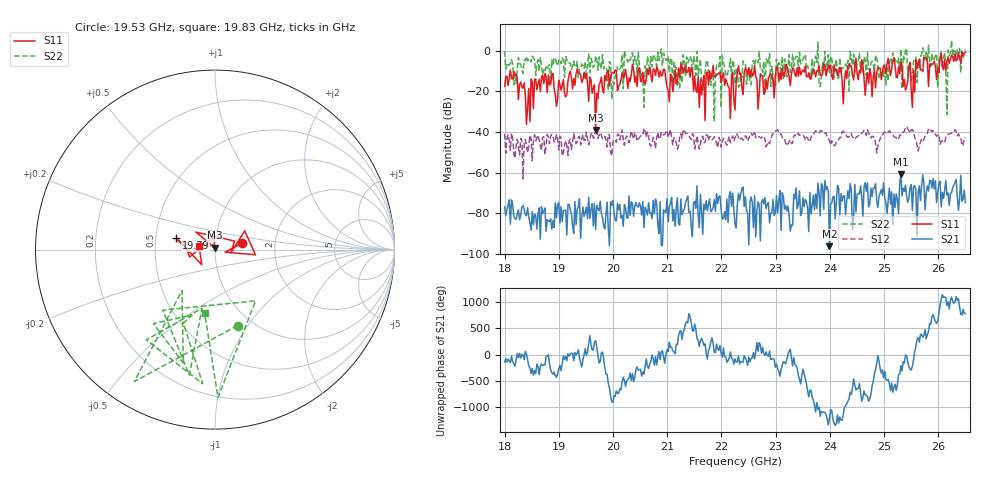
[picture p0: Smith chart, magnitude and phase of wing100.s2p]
!Keysight Technologies,N5242B,MY47200105,A.14.00.23
!Date: Friday, May 10, 2024 11:03:09
!Correction: S11(C  2-Port  )
!S21(C  2-Port  )
!S12(C  2-Port  )
!S22(C  2-Port  )
!S2P File: Measurement: :
# Hz S  RI  R 50
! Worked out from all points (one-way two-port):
!   401 points, 18 GHz to 26.5 GHz, reference 50 ohm
!   highest |S21| = -60.69 dB at 25.31 GHz (marker M1); lowest = -96.3 dB at 23.99 GHz (marker M2)
!   lowest |S11| = -38.9 dB at 19.68 GHz (marker M3), VSWR 1.02, Z = 49.8 + j1.11 ohm
!   |S11| at or under -10 dB: 18.11 GHz to 19.21 GHz (1.101 GHz wide, 5.9 % of centre); 19.35 GHz to 19.9 GHz (550.1 MHz wide, 2.8 % of centre); 21.86 GHz to 22.3 GHz (438.4 MHz wide, 1.99 % of centre) (the widest 3 of 61)
!   |S22| runs from -34.7 to 5.2 dB; largest |S21 - S12| = 0.013
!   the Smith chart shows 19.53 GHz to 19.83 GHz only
!   S11 on the Smith chart (normalised r, x): 19.53 GHz: 1.35, +0.10; 19.79 GHz: 0.64, +0.08; 19.83 GHz: 0.84, +0.04
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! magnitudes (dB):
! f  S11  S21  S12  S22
! 18 GHz  -17.5  -76.8  -41.0  -0.1
! 18.19 GHz  -12.2  -82.7  -52.9  -10.6
! 18.43 GHz  -27.5  -77.3  -50.2  -4.9
! 18.72 GHz  -16.1  -79.0  -42.3  -9.3
! 19.42 GHz  -15.6  -81.6  -43.3  -6.4
! 19.53 GHz  -16.2  -82.8  -43.6  -7.1
! 19.68 GHz  -38.9  -88.0  -38.1  -2.5
! 19.79 GHz  -13.0  -80.0  -41.5  -8.8
! 19.83 GHz  -20.8  -86.6  -43.4  -8.9
! 20.02 GHz  -11.0  -79.7  -43.7  -16.5
! 20.38 GHz  -9.4  -81.5  -43.4  -6.6
! 20.55 GHz  -10.5  -74.3  -41.4  -13.8
! 20.85 GHz  -12.9  -90.1  -43.5  -4.6
! 21.23 GHz  -13.1  -85.8  -41.6  -18.2
! 21.4 GHz  -8.0  -79.6  -41.6  -4.4
! 21.85 GHz  -7.1  -77.3  -43.3  -8.8
! 22.25 GHz  -29.1  -85.2  -43.0  -16.3
! 23.67 GHz  -10.9  -76.4  -41.4  -3.8
! 23.99 GHz  -8.4  -96.3  -44.1  -10.8
! 25.1 GHz  -8.4  -67.7  -39.4  -5.9
! 25.31 GHz  -5.6  -60.7  -41.4  0.9
! 26.5 GHz  -0.7  -74.8  -42.7  0.7
